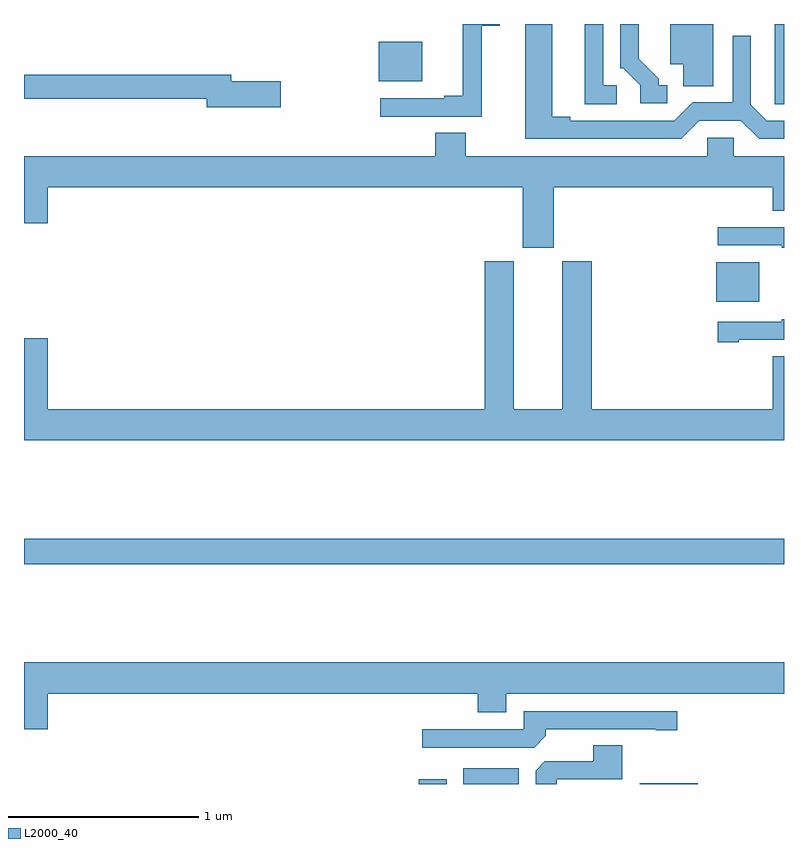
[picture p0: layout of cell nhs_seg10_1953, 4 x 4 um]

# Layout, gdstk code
import gdstk
lib = gdstk.Library(unit=1e-6, precision=1e-09)
def R(c, l, rs):  # rectangles x0, y0, x1, y1
    for r in rs: c.add(gdstk.rectangle(r[:2], r[2:], *l))
def P(c, l, *ps):  # polygons
    for p in ps: c.add(gdstk.Polygon(p, *l))
L2000_40 = (2000, 40)

nhs_seg10_1953 = lib.new_cell('nhs_seg10_1953')
R(nhs_seg10_1953, L2000_40, [(215.078,1306.5,215.224,1306.525), (215.312,1306.5,215.605,1306.582), (216.24,1306.5,216.547,1306.504), (213,1307.656,217,1307.792), (216.644,1309.037,216.871,1309.246), (214.868,1310.198,215.095,1310.407)])
P(nhs_seg10_1953, L2000_40, [(217,1310.5),(216.95,1310.5),(216.95,1310.185),(216.951,1310.185),(216.951,1310.077),(217,1310.077)],
  [(215.409,1310.491),(215.503,1310.491),(215.503,1310.5),(215.213,1310.5),(215.213,1310.499),(215.309,1310.499),(215.309,1310.122),(215.213,1310.122),(215.213,1310.109),(214.875,1310.109),(214.875,1310.013),(215.409,1310.013)],
  [(216.121,1310.178),(216.048,1310.178),(216.048,1310.5),(215.951,1310.5),(215.951,1310.077),(216.121,1310.077)],
  [(216.628,1310.5),(216.401,1310.5),(216.401,1310.288),(216.47,1310.288),(216.47,1310.173),(216.628,1310.173)],
  [(216.555,1309.992),(216.773,1309.992),(216.869,1309.896),(217,1309.896),(217,1309.992),(216.909,1309.992),(216.825,1310.076),(216.825,1310.437),(216.729,1310.437),(216.729,1310.088),(216.519,1310.088),(216.423,1309.992),(215.875,1309.992),(215.875,1310.012),(215.779,1310.012),(215.779,1310.5),(215.639,1310.5),(215.639,1309.896),(216.459,1309.896)],
  [(216.385,1310.178),(216.34,1310.178),(216.34,1310.213),(216.235,1310.318),(216.235,1310.5),(216.138,1310.5),(216.138,1310.268),(216.153,1310.268),(216.243,1310.178),(216.243,1310.082),(216.385,1310.082)],
  [(214.351,1310.198),(214.09,1310.198),(214.09,1310.234),(213,1310.234),(213,1310.106),(213.962,1310.106),(213.962,1310.063),(214.351,1310.063)],
  [(215.788,1309.64),(216.941,1309.64),(216.941,1309.516),(217,1309.516),(217,1309.804),(216.735,1309.804),(216.735,1309.902),(216.597,1309.902),(216.597,1309.804),(215.325,1309.804),(215.325,1309.928),(215.165,1309.928),(215.165,1309.804),(213,1309.804),(213,1309.452),(213.124,1309.452),(213.124,1309.64),(215.624,1309.64),(215.624,1309.323),(215.788,1309.323)],
  [(217,1309.431),(216.651,1309.431),(216.651,1309.335),(216.989,1309.335),(216.989,1309.323),(217,1309.323)],
  [(217,1308.752),(216.941,1308.752),(216.941,1308.472),(215.987,1308.472),(215.987,1309.251),(215.834,1309.251),(215.834,1308.472),(215.578,1308.472),(215.578,1309.251),(215.426,1309.251),(215.426,1308.472),(213.124,1308.472),(213.124,1308.847),(213,1308.847),(213,1308.308),(217,1308.308)],
  [(216.763,1308.837),(217,1308.837),(217,1308.946),(216.989,1308.946),(216.989,1308.933),(216.651,1308.933),(216.651,1308.825),(216.763,1308.825)],
  [(213.124,1306.976),(215.387,1306.976),(215.387,1306.877),(215.539,1306.877),(215.539,1306.976),(217,1306.976),(217,1307.14),(213,1307.14),(213,1306.788),(213.124,1306.788)],
  [(215.747,1306.754),(215.747,1306.788),(216.326,1306.788),(216.326,1306.783),(216.439,1306.783),(216.439,1306.884),(215.631,1306.884),(215.631,1306.788),(215.097,1306.788),(215.097,1306.692),(215.685,1306.692)],
  [(215.805,1306.524),(216.149,1306.524),(216.149,1306.703),(215.996,1306.703),(215.996,1306.62),(215.742,1306.62),(215.693,1306.571),(215.693,1306.5),(215.805,1306.5)])

lib.write_gds('nhs_seg10_1953.gds')
